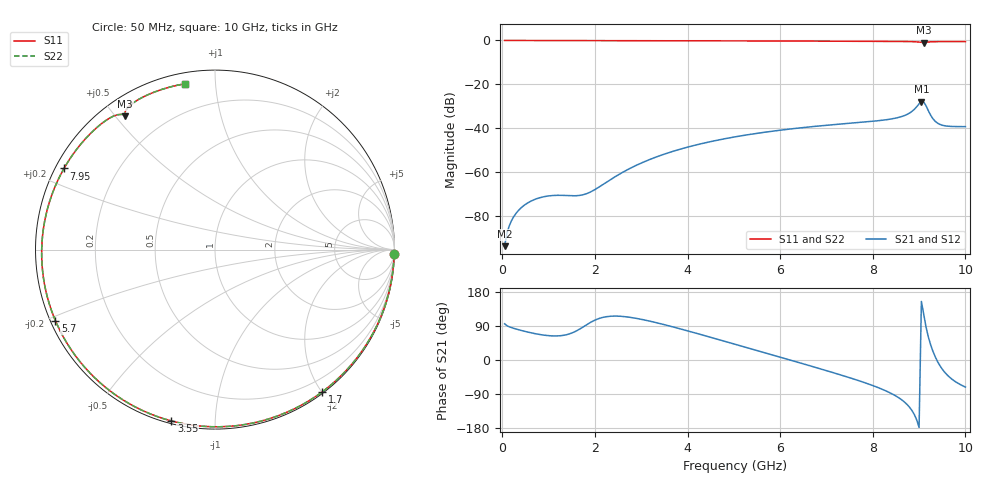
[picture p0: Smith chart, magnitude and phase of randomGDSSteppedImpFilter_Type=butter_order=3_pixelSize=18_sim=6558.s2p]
! freq	dB(S11)	phase(S11)	dB(S12)	phase(S12)
!  dB(S21)	phase(S21)	dB(S22)	phase(S22)
!S-par simulation data
#  GHz  S  DB  R 50
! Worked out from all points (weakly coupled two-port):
!   200 points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, 50 MHz to 10 GHz, reference 50 ohm
!   highest |S21| = -27.88 dB at 9.05 GHz (marker M1); lowest = -93.8 dB at 50 MHz (marker M2)
!   lowest |S11| = -1.0 dB at 9.1 GHz (marker M3), VSWR 18.06, Z = 3.55 + j26.5 ohm
!   |S11| at or under -10 dB: nowhere
!   |S22| runs from -1.0 to 0.0 dB; largest |S21 - S12| = 0
!   S11 on the Smith chart (normalised r, x): 50 MHz: 2, -74; 1.7 GHz: 0.02, -2.00; 3.55 GHz: 0.01, -0.78; 5.7 GHz: 0.01, -0.21; 7.95 GHz: 0.02, +0.25; 10 GHz: 0.05, +0.84
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0.05  -0.01 -1.6  -93.82 95.5  -93.82 95.5  -0.01 -1.6
0.25  -0.02 -8.0  -80.26 83.5  -80.26 83.5  -0.02 -8.0
0.5  -0.02 -16.0  -74.76 75.2  -74.76 75.2  -0.02 -16.0
0.8  -0.03 -25.5  -71.79 67.4  -71.79 67.4  -0.03 -25.5
1.7  -0.07 -53.1  -70.57 83.7  -70.57 83.7  -0.07 -53.1
1.75  -0.07 -54.6  -70.34 87.5  -70.34 87.5  -0.07 -54.6
2.55  -0.10 -77.6  -60.72 115.4  -60.72 115.4  -0.10 -77.6
3.4  -0.13 -100.4  -52.57 96.3  -52.57 96.3  -0.13 -100.4
3.55  -0.13 -104.3  -51.48 91.7  -51.48 91.7  -0.13 -104.3
4.25  -0.16 -121.8  -47.32 68.5  -47.32 68.5  -0.16 -121.8
5.05  -0.20 -140.9  -43.88 40.7  -43.88 40.7  -0.20 -140.9
5.7  -0.23 -156.0  -41.76 18.0  -41.76 18.0  -0.23 -156.0
6.7  -0.30 -178.9  -39.29 -17.3  -39.29 -17.3  -0.30 -178.9
7.95  -0.40 151.8  -36.96 -65.2  -36.96 -65.2  -0.40 151.8
8.35  -0.44 141.9  -35.98 -85.3  -35.98 -85.3  -0.44 141.9
8.75  -0.50 131.5  -33.63 -118.5  -33.63 -118.5  -0.50 131.5
9.05  -0.92 123.9  -27.88 154.5  -27.88 154.5  -0.92 123.9
9.1  -0.96 124.0  -28.06 120.1  -28.06 120.1  -0.97 124.0
9.3  -0.59 119.7  -35.73 22.8  -35.73 22.8  -0.59 119.7
9.4  -0.55 116.8  -37.73 -4.3  -37.73 -4.3  -0.55 116.8
9.6  -0.53 111.2  -39.06 -38.6  -39.06 -38.6  -0.53 111.2
10  -0.55 100.1  -39.31 -71.5  -39.31 -71.5  -0.55 100.1
